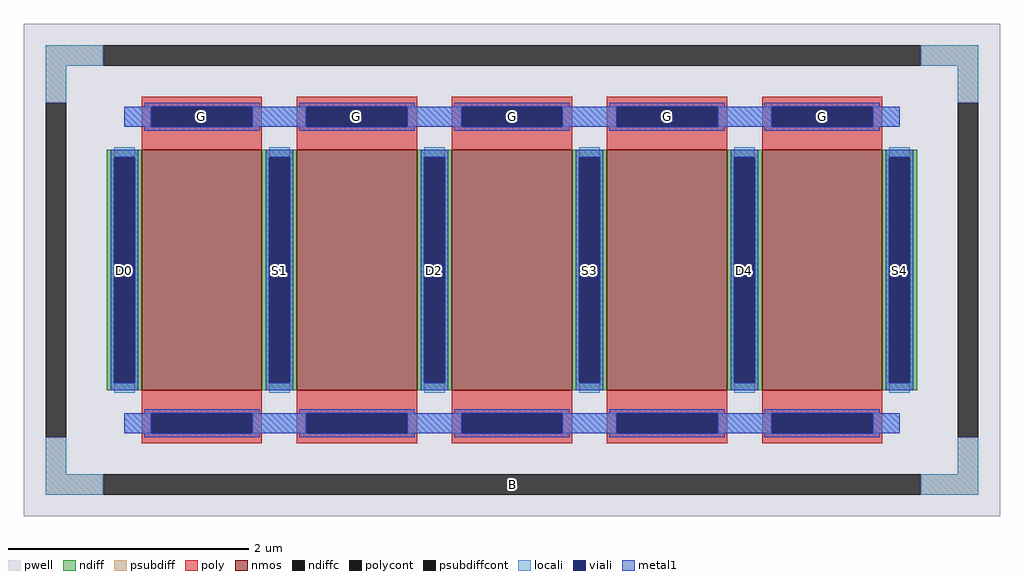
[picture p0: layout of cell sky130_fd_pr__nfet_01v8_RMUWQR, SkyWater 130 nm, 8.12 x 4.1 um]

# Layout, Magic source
magic
tech sky130A
magscale 1 2
<< pwell >>
rect -812 -410 812 410
<< nmos >>
rect -616 -200 -416 200
rect -358 -200 -158 200
rect -100 -200 100 200
rect 158 -200 358 200
rect 416 -200 616 200
<< ndiff >>
rect -674 188 -616 200
rect -674 -188 -662 188
rect -628 -188 -616 188
rect -674 -200 -616 -188
rect -416 188 -358 200
rect -416 -188 -404 188
rect -370 -188 -358 188
rect -416 -200 -358 -188
rect -158 188 -100 200
rect -158 -188 -146 188
rect -112 -188 -100 188
rect -158 -200 -100 -188
rect 100 188 158 200
rect 100 -188 112 188
rect 146 -188 158 188
rect 100 -200 158 -188
rect 358 188 416 200
rect 358 -188 370 188
rect 404 -188 416 188
rect 358 -200 416 -188
rect 616 188 674 200
rect 616 -188 628 188
rect 662 -188 674 188
rect 616 -200 674 -188
<< ndiffc >>
rect -662 -188 -628 188
rect -404 -188 -370 188
rect -146 -188 -112 188
rect 112 -188 146 188
rect 370 -188 404 188
rect 628 -188 662 188
<< psubdiff >>
rect -776 340 -680 374
rect 680 340 776 374
rect -776 278 -742 340
rect 742 278 776 340
rect -776 -340 -742 -278
rect 742 -340 776 -278
rect -776 -374 -680 -340
rect 680 -374 776 -340
<< psubdiffcont >>
rect -680 340 680 374
rect -776 -278 -742 278
rect 742 -278 776 278
rect -680 -374 680 -340
<< poly >>
rect -616 272 -416 288
rect -616 238 -600 272
rect -432 238 -416 272
rect -616 200 -416 238
rect -358 272 -158 288
rect -358 238 -342 272
rect -174 238 -158 272
rect -358 200 -158 238
rect -100 272 100 288
rect -100 238 -84 272
rect 84 238 100 272
rect -100 200 100 238
rect 158 272 358 288
rect 158 238 174 272
rect 342 238 358 272
rect 158 200 358 238
rect 416 272 616 288
rect 416 238 432 272
rect 600 238 616 272
rect 416 200 616 238
rect -616 -238 -416 -200
rect -616 -272 -600 -238
rect -432 -272 -416 -238
rect -616 -288 -416 -272
rect -358 -238 -158 -200
rect -358 -272 -342 -238
rect -174 -272 -158 -238
rect -358 -288 -158 -272
rect -100 -238 100 -200
rect -100 -272 -84 -238
rect 84 -272 100 -238
rect -100 -288 100 -272
rect 158 -238 358 -200
rect 158 -272 174 -238
rect 342 -272 358 -238
rect 158 -288 358 -272
rect 416 -238 616 -200
rect 416 -272 432 -238
rect 600 -272 616 -238
rect 416 -288 616 -272
<< polycont >>
rect -600 238 -432 272
rect -342 238 -174 272
rect -84 238 84 272
rect 174 238 342 272
rect 432 238 600 272
rect -600 -272 -432 -238
rect -342 -272 -174 -238
rect -84 -272 84 -238
rect 174 -272 342 -238
rect 432 -272 600 -238
<< locali >>
rect -776 340 -680 374
rect 680 340 776 374
rect -776 278 -742 340
rect 742 278 776 340
rect -645 238 -600 272
rect -432 238 -342 272
rect -174 238 -84 272
rect 84 238 174 272
rect 342 238 432 272
rect 600 238 645 272
rect -662 188 -628 204
rect -662 -204 -628 -188
rect -404 188 -370 204
rect -404 -204 -370 -188
rect -146 188 -112 204
rect -146 -204 -112 -188
rect 112 188 146 204
rect 112 -204 146 -188
rect 370 188 404 204
rect 370 -204 404 -188
rect 628 188 662 204
rect 628 -204 662 -188
rect -645 -272 -600 -238
rect -432 -272 -342 -238
rect -174 -272 -84 -238
rect 84 -272 174 -238
rect 342 -272 432 -238
rect 600 -272 645 -238
rect -776 -340 -742 -278
rect 742 -340 776 -278
rect -776 -374 -680 -340
rect 680 -374 776 -340
<< viali >>
rect -600 238 -432 272
rect -342 238 -174 272
rect -84 238 84 272
rect 174 238 342 272
rect 432 238 600 272
rect -662 -188 -628 188
rect -404 -188 -370 188
rect -146 -188 -112 188
rect 112 -188 146 188
rect 370 -188 404 188
rect 628 -188 662 188
rect -600 -272 -432 -238
rect -342 -272 -174 -238
rect -84 -272 84 -238
rect 174 -272 342 -238
rect 432 -272 600 -238
<< metal1 >>
rect -612 272 -420 278
rect -354 272 -162 278
rect -96 272 96 278
rect 162 272 354 278
rect 420 272 612 278
rect -645 238 -600 272
rect -432 238 -342 272
rect -174 238 -84 272
rect 84 238 174 272
rect 342 238 432 272
rect 600 238 645 272
rect -612 232 -420 238
rect -354 232 -162 238
rect -96 232 96 238
rect 162 232 354 238
rect 420 232 612 238
rect -668 188 -622 200
rect -668 -188 -662 188
rect -628 -188 -622 188
rect -668 -200 -622 -188
rect -410 188 -364 200
rect -410 -188 -404 188
rect -370 -188 -364 188
rect -410 -200 -364 -188
rect -152 188 -106 200
rect -152 -188 -146 188
rect -112 -188 -106 188
rect -152 -200 -106 -188
rect 106 188 152 200
rect 106 -188 112 188
rect 146 -188 152 188
rect 106 -200 152 -188
rect 364 188 410 200
rect 364 -188 370 188
rect 404 -188 410 188
rect 364 -200 410 -188
rect 622 188 668 200
rect 622 -188 628 188
rect 662 -188 668 188
rect 622 -200 668 -188
rect -612 -238 -420 -232
rect -354 -238 -162 -232
rect -96 -238 96 -232
rect 162 -238 354 -232
rect 420 -238 612 -232
rect -645 -272 -600 -238
rect -432 -272 -342 -238
rect -174 -272 -84 -238
rect 84 -272 174 -238
rect 342 -272 432 -238
rect 600 -272 645 -238
rect -612 -278 -420 -272
rect -354 -278 -162 -272
rect -96 -278 96 -272
rect 162 -278 354 -272
rect 420 -278 612 -272
<< labels >>
rlabel psubdiffcont 0 -357 0 -357 0 B
port 1 nsew
rlabel ndiffc -645 0 -645 0 0 D0
port 2 nsew
rlabel polycont -516 255 -516 255 0 G
port 3 nsew
rlabel ndiffc -387 0 -387 0 0 S1
port 4 nsew
rlabel polycont -258 255 -258 255 0 G
port 3 nsew
rlabel ndiffc -129 0 -129 0 0 D2
port 5 nsew
rlabel polycont 0 255 0 255 0 G
port 3 nsew
rlabel ndiffc 129 0 129 0 0 S3
port 6 nsew
rlabel polycont 258 255 258 255 0 G
port 3 nsew
rlabel ndiffc 387 0 387 0 0 D4
port 7 nsew
rlabel ndiffc 645 0 645 0 0 S4
port 8 nsew
rlabel polycont 516 255 516 255 0 G
port 3 nsew
<< properties >>
string FIXED_BBOX -759 -357 759 357
string gencell sky130_fd_pr__nfet_01v8
string library sky130
string parameters w 2 l 1.0 m 1 nf 5 diffcov 100 polycov 100 guard 1 glc 1 grc 1 gtc 1 gbc 1 tbcov 100 rlcov 100 topc 1 botc 1 poverlap 0 doverlap 1 lmin 0.15 wmin 0.42 class mosfet compatible {sky130_fd_pr__nfet_01v8 sky130_fd_pr__nfet_01v8_lvt  sky130_fd_bs_flash__special_sonosfet_star  sky130_fd_pr__nfet_g5v0d10v5 sky130_fd_pr__nfet_05v0_nvt  sky130_fd_pr__nfet_03v3_nvt} full_metal 1 conn_gates 1 viasrc 100 viadrn 100 viagate 100 viagb 0 viagr 0 viagl 0 viagt 0 doports 1
<< end >>
